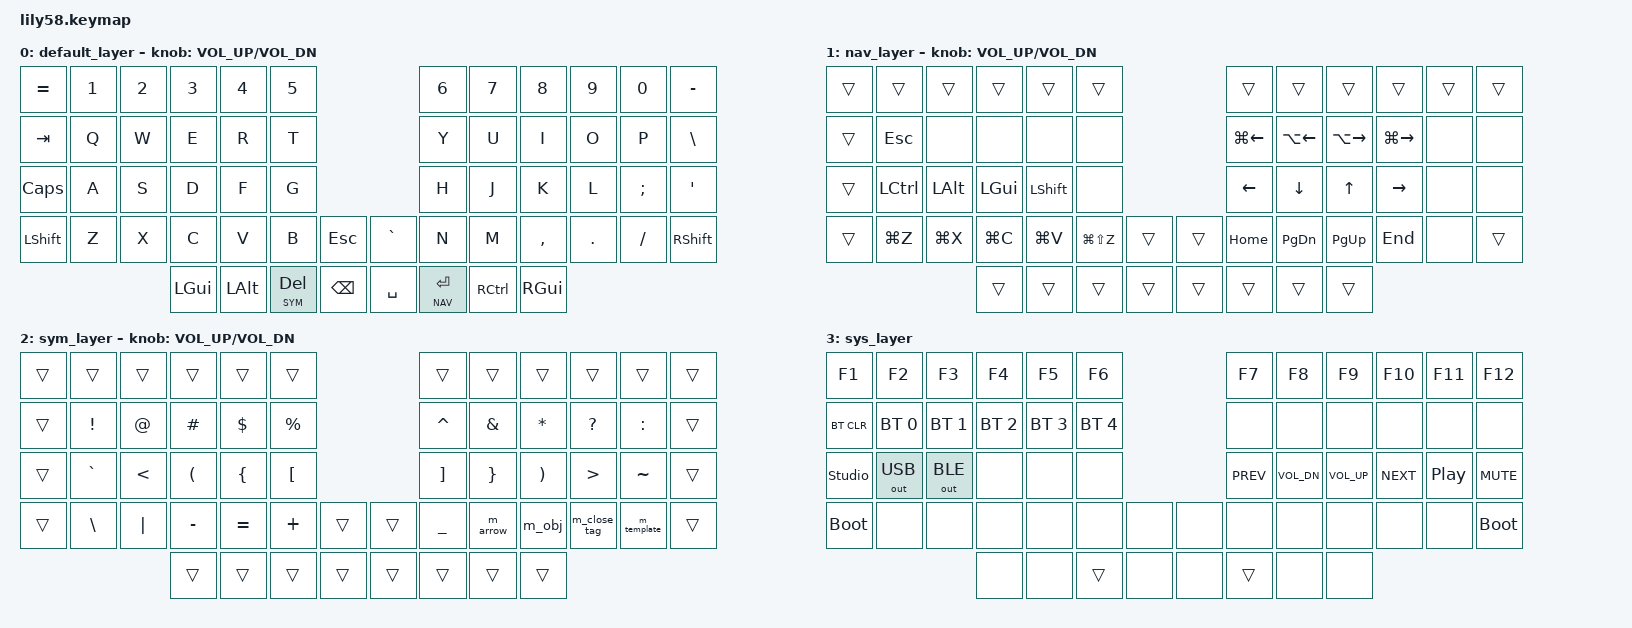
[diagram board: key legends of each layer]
/*
 * Copyright (c) 2020 The ZMK Contributors
 *
 * SPDX-License-Identifier: MIT
 *
 * Kinesis Advantage2 (Mac mode) style base layer, so switching between the two
 * boards keeps the same muscle memory:
 *  - main grid matches the Kinesis key-for-key (= and - on the number row, \ on the right)
 *  - thumbs mirror the Kinesis clusters: Cmd/Opt | Bksp + Del, Space + Enter | Ctrl/Cmd
 *
 * Layers:
 *  - Nav (hold Enter): vim-style movement on the right hand, one-handed
 *  - Sym (hold Del):   programming symbols, bracket pairs mirrored on the home row
 *  - Sys (hold both):  F-keys, Bluetooth, output, bootloader, media
 */

#include <behaviors.dtsi>
#include <dt-bindings/zmk/keys.h>
#include <dt-bindings/zmk/bt.h>
#include <dt-bindings/zmk/outputs.h>

#define BASE 0
#define NAV  1
#define SYM  2
#define SYS  3

// Hold Del or Enter for a layer. Tap-then-hold repeats the key.
&lt {
    tapping-term-ms = <200>;
    quick-tap-ms = <175>;
    flavor = "balanced";
};

/ {
    conditional_layers {
        compatible = "zmk,conditional-layers";
        nav_sym_to_sys {
            if-layers = <NAV SYM>;
            then-layer = <SYS>;
        };
    };

    macros {
        // JS arrow function
        m_arrow: m_arrow {
            compatible = "zmk,behavior-macro";
            #binding-cells = <0>;
            bindings = <&kp EQUAL &kp GT>;
        };

        // PHP object operator
        m_obj: m_obj {
            compatible = "zmk,behavior-macro";
            #binding-cells = <0>;
            bindings = <&kp MINUS &kp GT>;
        };

        // HTML closing tag
        m_close_tag: m_close_tag {
            compatible = "zmk,behavior-macro";
            #binding-cells = <0>;
            bindings = <&kp LT &kp FSLH>;
        };

        // JS template literal
        m_template: m_template {
            compatible = "zmk,behavior-macro";
            #binding-cells = <0>;
            bindings = <&kp DOLLAR &kp LBRC>;
        };
    };

    keymap {
        compatible = "zmk,keymap";

        default_layer {
// ------------------------------------------------------------------------------------------------------------
// |   =   |  1  |  2  |  3   |  4   |  5   |                   |  6   |  7    |  8    |  9   |   0   |   -   |
// |  TAB  |  Q  |  W  |  E   |  R   |  T   |                   |  Y   |  U    |  I    |  O   |   P   |   \   |
// |  CAPS |  A  |  S  |  D   |  F   |  G   |                   |  H   |  J    |  K    |  L   |   ;   |   '   |
// | SHIFT |  Z  |  X  |  C   |  V   |  B   |  ESC   |  |   `   |  N   |  M    |  ,    |  .   |   /   | SHIFT |
//                     | CMD  | OPT  |DEL/SYM| BSPC  |  | SPACE |ENT/NAV| CTRL | CMD   |
            bindings = <
&kp EQUAL &kp N1 &kp N2 &kp N3   &kp N4   &kp N5                         &kp N6 &kp N7      &kp N8    &kp N9   &kp N0   &kp MINUS
&kp TAB   &kp Q  &kp W  &kp E    &kp R    &kp T                          &kp Y  &kp U       &kp I     &kp O    &kp P    &kp BSLH
&kp CAPS  &kp A  &kp S  &kp D    &kp F    &kp G                          &kp H  &kp J       &kp K     &kp L    &kp SEMI &kp SQT
&kp LSHFT &kp Z  &kp X  &kp C    &kp V    &kp B       &kp ESC  &kp GRAVE &kp N  &kp M       &kp COMMA &kp DOT  &kp FSLH &kp RSHFT
                        &kp LGUI &kp LALT &lt SYM DEL &kp BSPC &kp SPACE &lt NAV RET &kp RCTRL &kp RGUI
            >;

            sensor-bindings = <&inc_dec_kp C_VOL_UP C_VOL_DN>;
        };

        nav_layer {
// ------------------------------------------------------------------------------------------------------------
// |       |     |     |      |      |      |                   |      |       |       |      |       |       |
// |       | ESC |     |      |      |      |                   |  ⌘←  |  ⌥←   |  ⌥→   |  ⌘→  |       |       |
// |       | CTRL| OPT | CMD  | SHFT |      |                   |  <-  |   v   |   ^   |  ->  |       |       |
// |       | UNDO| CUT | COPY | PASTE| REDO |        |  |       | HOME | PGDN  | PGUP  | END  |       |       |
//                     |      |      |      |        |  |       |(held)|       |       |
            bindings = <
&trans &trans    &trans    &trans    &trans    &trans                         &trans       &trans       &trans        &trans       &trans &trans
&trans &kp ESC   &none     &none     &none     &none                          &kp LG(LEFT) &kp LA(LEFT) &kp LA(RIGHT) &kp LG(RIGHT) &none &none
&trans &kp LCTRL &kp LALT  &kp LGUI  &kp LSHFT &none                          &kp LEFT     &kp DOWN     &kp UP        &kp RIGHT    &none  &none
&trans &kp LG(Z) &kp LG(X) &kp LG(C) &kp LG(V) &kp LG(LS(Z)) &trans   &trans  &kp HOME     &kp PG_DN    &kp PG_UP     &kp END      &none  &trans
                           &trans    &trans    &trans        &trans   &trans  &trans       &trans       &trans
            >;

            sensor-bindings = <&inc_dec_kp C_VOL_UP C_VOL_DN>;
        };

        sym_layer {
// ------------------------------------------------------------------------------------------------------------
// |       |     |     |      |      |      |                   |      |       |       |      |       |       |
// |       |  !  |  @  |  #   |  $   |  %   |                   |  ^   |   &   |   *   |  ?   |   :   |       |
// |       |  `  |  <  |  (   |  {   |  [   |                   |  ]   |   }   |   )   |  >   |   ~   |       |
// |       |  \  |  |  |  -   |  =   |  +   |        |  |       |  _   |  =>   |  ->   |  </  |  ${   |       |
//                     |      |      |(held)|        |  |       |      |       |       |
            bindings = <
&trans &trans    &trans    &trans    &trans     &trans                        &trans     &trans     &trans    &trans      &trans       &trans
&trans &kp EXCL  &kp AT    &kp HASH  &kp DOLLAR &kp PRCNT                     &kp CARET  &kp AMPS   &kp ASTRK &kp QMARK   &kp COLON    &trans
&trans &kp GRAVE &kp LT    &kp LPAR  &kp LBRC   &kp LBKT                      &kp RBKT   &kp RBRC   &kp RPAR  &kp GT      &kp TILDE    &trans
&trans &kp BSLH  &kp PIPE  &kp MINUS &kp EQUAL  &kp PLUS  &trans    &trans    &kp UNDER  &m_arrow   &m_obj    &m_close_tag &m_template &trans
                           &trans    &trans     &trans    &trans    &trans    &trans     &trans     &trans
            >;

            sensor-bindings = <&inc_dec_kp C_VOL_UP C_VOL_DN>;
        };

        sys_layer {
// ------------------------------------------------------------------------------------------------------------
// |  F1   |  F2 |  F3 |  F4  |  F5  |  F6  |                   |  F7  |  F8   |  F9   |  F10 |  F11  |  F12  |
// | BTCLR | BT1 | BT2 |  BT3 |  BT4 |  BT5 |                   |      |       |       |      |       |       |
// | STUDIO| USB | BLE |      |      |      |                   | PREV | VOL-  | VOL+  | NEXT | PLAY  | MUTE  |
// | BOOT  |     |     |      |      |      |        |  |       |      |       |       |      |       | BOOT  |
//                     |      |      |(held)|        |  |       |(held)|       |       |
            bindings = <
&kp F1         &kp F2        &kp F3        &kp F4       &kp F5       &kp F6                           &kp F7     &kp F8       &kp F9       &kp F10    &kp F11  &kp F12
&bt BT_CLR     &bt BT_SEL 0  &bt BT_SEL 1  &bt BT_SEL 2 &bt BT_SEL 3 &bt BT_SEL 4                     &none      &none        &none        &none      &none    &none
&studio_unlock &out OUT_USB  &out OUT_BLE  &none        &none        &none                            &kp C_PREV &kp C_VOL_DN &kp C_VOL_UP &kp C_NEXT &kp C_PP &kp C_MUTE
&bootloader    &none         &none         &none        &none        &none     &none          &none   &none      &none        &none        &none      &none    &bootloader
                                           &none        &none        &trans    &none          &none   &trans     &none        &none
            >;
        };
    };
};
